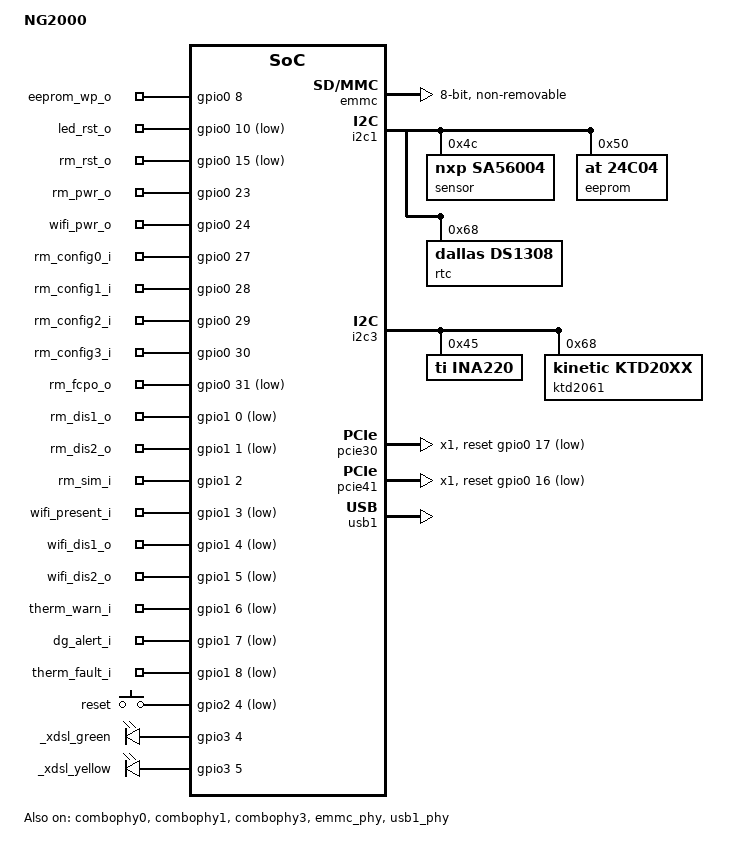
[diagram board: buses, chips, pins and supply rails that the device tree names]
// SPDX-License-Identifier: GPL-2.0
/*
 * Copyright (C) 2024-2026 TDT AG <development@tdt.de>
 */


/dts-v1/;
#include <dt-bindings/gpio/gpio.h>
#include <dt-bindings/input/input.h>
#include <dt-bindings/leds/common.h>

#include "lightning_mountain.dtsi"

/ {
	model = "NG2000";
	compatible = "tdt,luke", "intel,lgm";

	chosen {
		stdout-path = "serial0";
	};

	gpio_export: gpio-export {
		compatible = "gpio-export";
		#size-cells = <0>;

		/* GPIO08: EEPROM_WP */
		eeprom_wp_o {
			gpio-export,name = "eeprom_wp_o";
			gpio-export,output = <1>;
			gpios = <&gpio0 8 (GPIO_ACTIVE_HIGH|GPIO_OPEN_DRAIN)>;
		};

		/* GPIO10: LED_RST_N */
		led_rst_o {
			gpio-export,name = "led_rst_o";
			gpio-export,output = <1>;
			gpios = <&gpio0 10 (GPIO_ACTIVE_LOW|GPIO_OPEN_DRAIN)>;
		};
		/* GPIO15: PERST_WWAN_N */
		rm_rst_o {
			gpio-export,name = "rm_rst_o";
			gpio-export,output = <1>;
			gpios = <&gpio0 15 (GPIO_ACTIVE_LOW|GPIO_OPEN_DRAIN)>;
		};
		/* GPIO23: P3V3_WWAN_EN */
		rm_pwr_o {
			gpio-export,name = "rm_pwr_o";
			gpio-export,output = <1>;
			gpios = <&gpio0 23 GPIO_ACTIVE_HIGH>;
		};
		/* GPIO24: P3V3_WLAN_EN */
		wifi_pwr_o {
			gpio-export,name = "wifi_pwr_o";
			gpio-export,output = <1>;
			gpios = <&gpio0 24 GPIO_ACTIVE_HIGH>;
		};
		/* GPIO27: WWAN_CONFIG0 */
		rm_config0_i {
			gpio-export,name = "rm_config0_i";
			gpios = <&gpio0 27 GPIO_ACTIVE_HIGH>;
		};
		/* GPIO28: WWAN_CONFIG1 */
		rm_config1_i {
			gpio-export,name = "rm_config1_i";
			gpios = <&gpio0 28 GPIO_ACTIVE_HIGH>;
		};
		/* GPIO29: WWAN_CONFIG2 */
		rm_config2_i {
			gpio-export,name = "rm_config2_i";
			gpios = <&gpio0 29 GPIO_ACTIVE_HIGH>;
		};
		/* GPIO30: WWAN_CONFIG3 */
		rm_config3_i {
			gpio-export,name = "rm_config3_i";
			gpios = <&gpio0 30 GPIO_ACTIVE_HIGH>;
		};
		/* GPIO31: FCPO_WWAN_N */
		rm_fcpo_o {
			gpio-export,name = "rm_fcpo_o";
			gpio-export,output = <1>;
			gpios = <&gpio0 31 (GPIO_ACTIVE_LOW|GPIO_OPEN_DRAIN)>;
		};
		/* GPIO32: DIS1_WWAN_N */
		rm_dis1_o {
			gpio-export,name = "rm_dis1_o";
			gpio-export,output = <1>;
			gpios = <&gpio1 0 (GPIO_ACTIVE_LOW|GPIO_OPEN_DRAIN)>;
		};
		/* GPIO33: DIS2_WWAN_N */
		rm_dis2_o {
			gpio-export,name = "rm_dis2_o";
			gpio-export,output = <1>;
			gpios = <&gpio1 1 (GPIO_ACTIVE_LOW|GPIO_OPEN_DRAIN)>;
		};
		/* GPIO34: SIM_DETECT */
		rm_sim_i {
			gpio-export,name = "rm_sim_i";
			gpios = <&gpio1 2 GPIO_ACTIVE_HIGH>;
		};
		/* GPIO35: WLAN_PRESENT_N */
		wifi_present_i {
			gpio-export,name = "wifi_present_i";
			gpios = <&gpio1 3 GPIO_ACTIVE_LOW>;
		};
		/* GPIO36: DIS1_WLAN_N */
		wifi_dis1_o {
			gpio-export,name = "wifi_dis1_o";
			gpio-export,output = <1>;
			gpios = <&gpio1 4 (GPIO_ACTIVE_LOW|GPIO_OPEN_DRAIN)>;
		};
		/* GPIO37: DIS2_WLAN_N */
		wifi_dis2_o {
			gpio-export,name = "wifi_dis2_o";
			gpio-export,output = <1>;
			gpios = <&gpio1 5 (GPIO_ACTIVE_LOW|GPIO_OPEN_DRAIN)>;
		};
		/* GPIO38: THERM_WARN_N */
		therm_warn_i {
			gpio-export,name = "therm_warn_i";
			gpios = <&gpio1 6 GPIO_ACTIVE_LOW>;
		};
		/* GPIO39: DG_ALERT_N */
		dg_alert_i {
			gpio-export,name = "dg_alert_i";
			gpios = <&gpio1 7 GPIO_ACTIVE_LOW>;
		};
		/* GPIO40: THERM_FAULT_N */
		therm_fault_i {
			gpio-export,name = "therm_fault_i";
			gpios = <&gpio1 8 GPIO_ACTIVE_LOW>;
		};
	};

	keys {
		compatible = "gpio-keys-polled";
		poll-interval = <100>;

		reset {
			label = "reset";
			gpios = <&gpio2 4 GPIO_ACTIVE_LOW>;
			linux,code = <KEY_RESTART>;
		};
	};

	leds {
		compatible = "gpio-leds";

		_xdsl_green {
			label = "_xdsl_green";
			gpios = <&gpio3 4 GPIO_ACTIVE_HIGH>;
		};
		_xdsl_yellow {
			label = "_xdsl_yellow";
			gpios = <&gpio3 5 GPIO_ACTIVE_HIGH>;
		};
	};

};

/* combo PHY setting */
/* combo phy 0 */
&combophy0 {
	status = "okay";
	intel,phy-mode = <PHY_TYPE_XPCS>;
};

/* combo phy 1 */
&combophy1 {
	status = "okay";
	intel,phy-mode = <PHY_TYPE_PCIE>;
};

/* combo phy 3 */
&combophy3 {
	status = "okay";
	intel,phy-mode = <PHY_TYPE_PCIE>;
};

/* EMMC setting */
&emmc {
	status = "okay";
	bus-width = <8>;
	non-removable;
	/* set fixed drive impedance: 0 = 50 Ohms, 1 = 33 Ohms, 2 = 66 Ohms, 3 = 100 Ohms, 4 = 40 Ohms */
	fixed-emmc-driver-type = <4>;
	/* set itap delay to 0 to use "auto-tuning" */
	clk-phase-mmc-hs200 = <0>, <180>;
	clk-phase-mmc-hs400 = <0>, <90>;
};

&emmc_phy {
	status = "okay";
	drive-impedance-ohm = <40>;
};

&i2c1 {
	status = "okay";

	sensor@4c {
		compatible = "nxp,sa56004";
		reg = <0x4c>;
	};

	eeprom@50 {
		compatible = "at,24c04";
		reg = <0x50>;

		nvmem-layout {
			compatible = "onie,tlv-layout";
		};
	};

	rtc@68 {
		compatible = "dallas,ds1308";
		reg = <0x68>;
	};
};

&i2c3 {
	status = "okay";

	ina220@45 {
		compatible = "ti,ina220";
		reg = <0x45>;
		shunt-resistor = <20000>;
	};

	ktd2061@68 {
		#address-cells = <1>;
		#size-cells = <0>;
		compatible = "kinetic,ktd20xx";
		reg = <0x68>;
		led-0 {
			reg = <0xA>; //LEDC3
			function = LED_FUNCTION_STATUS;
			color = <LED_COLOR_ID_MULTI>;
			linux,default-trigger = "none";
		};
		led-1 {
			reg = <0x9>; //LEDC2
			function = LED_FUNCTION_LAN;
			color = <LED_COLOR_ID_MULTI>;
			linux,default-trigger = "none";
		};
		led-2 {
			reg = <0x8>; //LEDC1
			function = LED_FUNCTION_WLAN;
			color = <LED_COLOR_ID_MULTI>;
			linux,default-trigger = "none";
		};
		led-3 {
			reg = <0x7>; //LEDB4
			function = "vpn";
			color = <LED_COLOR_ID_MULTI>;
			linux,default-trigger = "none";
		};
		led-4 {
			reg = <0x6>; //LEDB3
			function = LED_FUNCTION_WAN;
			color = <LED_COLOR_ID_MULTI>;
			linux,default-trigger = "none";
		};
		led-5 {
			reg = <0x5>; //LEDB2
			function = "external";
			color = <LED_COLOR_ID_MULTI>;
			linux,default-trigger = "none";
		};
		led-6 {
			reg = <0x4>; //LEDB1
			function = "dsl";
			color = <LED_COLOR_ID_MULTI>;
			linux,default-trigger = "none";
		};
		led-7 {
			reg = <0x3>; //LEDA4
			function = "wwan";
			color = <LED_COLOR_ID_MULTI>;
			linux,default-trigger = "none";
		};
		led-8 {
			reg = <0x2>; //LEDA3
			function = "cellular";
			color = <LED_COLOR_ID_MULTI>;
			linux,default-trigger = "none";
		};
		led-9 {
			reg = <0x1>; //LEDA2
			function = "signal";
			color = <LED_COLOR_ID_MULTI>;
			linux,default-trigger = "none";
		};
	};
};

/* PCIe */
&pcie30 { /* DSL */
	status = "okay";
	reset-assert-ms = <200>;
	reset-gpios = <&gpio0 17 (GPIO_ACTIVE_LOW|GPIO_OPEN_DRAIN)>;
	num-lanes = <1>;
};

&pcie41 { /* WIFI */
	status = "okay";
	/* CLKREQ# feature temporarily disabled as it is currently not working properly */
	// pinctrl-names = "default";
	// pinctrl-0 = <&pci41_clk_req_pins>;
	reset-assert-ms = <200>;
	reset-gpios = <&gpio0 16 (GPIO_ACTIVE_LOW|GPIO_OPEN_DRAIN)>;
	num-lanes = <1>;
};

&usb1_phy {
	status = "okay";
};

&usb1 {
	status = "okay";
};
